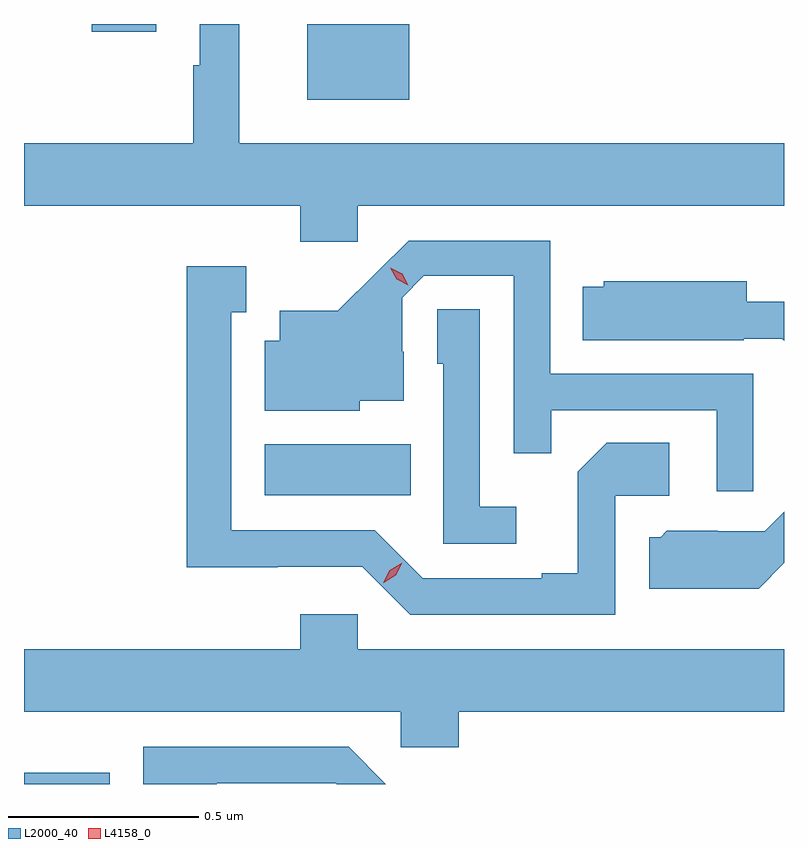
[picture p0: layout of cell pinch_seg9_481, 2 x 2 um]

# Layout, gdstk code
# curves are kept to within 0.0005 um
import gdstk
lib = gdstk.Library(unit=1e-6, precision=1e-09)
def R(c, l, rs):  # rectangles x0, y0, x1, y1
    for r in rs: c.add(gdstk.rectangle(r[:2], r[2:], *l))
def P(c, l, *ps):  # polygons
    for p in ps: c.add(gdstk.Polygon(p, *l))
L2000_40 = (2000, 40)
L4158_0 = (4158, 0)

pinch_seg9_481 = lib.new_cell('pinch_seg9_481')
R(pinch_seg9_481, L2000_40, [(254.398,1197.562,254.623,1197.592), (255.032,1198.322,255.416,1198.456), (255.143,1199.363,255.412,1199.562), (254.576,1199.541,254.746,1199.562)])
P(pinch_seg9_481, L2000_40, [(255.276,1199.084),(256.398,1199.084),(256.398,1199.248),(254.965,1199.248),(254.965,1199.562),(254.861,1199.562),(254.861,1199.453),(254.844,1199.453),(254.844,1199.248),(254.398,1199.248),(254.398,1199.084),(255.125,1199.084),(255.125,1198.989),(255.276,1198.989)],
  [(256.317,1198.641),(255.783,1198.641),(255.783,1198.992),(255.41,1198.992),(255.223,1198.807),(255.071,1198.807),(255.071,1198.729),(255.032,1198.729),(255.032,1198.544),(255.282,1198.544),(255.282,1198.571),(255.397,1198.571),(255.397,1198.7),(255.393,1198.7),(255.393,1198.842),(255.45,1198.899),(255.687,1198.899),(255.687,1198.432),(255.785,1198.432),(255.785,1198.545),(256.221,1198.545),(256.221,1198.332),(256.317,1198.332)],
  [(255.954,1198.32),(256.096,1198.32),(256.096,1198.46),(255.931,1198.46),(255.855,1198.384),(255.855,1198.117),(255.761,1198.117),(255.761,1198.104),(255.447,1198.104),(255.321,1198.23),(254.944,1198.23),(254.944,1198.803),(254.983,1198.803),(254.983,1198.924),(254.826,1198.924),(254.826,1198.133),(255.066,1198.133),(255.066,1198.134),(255.288,1198.134),(255.414,1198.008),(255.954,1198.008)],
  [(256.398,1198.831),(256.3,1198.831),(256.3,1198.885),(255.924,1198.885),(255.924,1198.87),(255.868,1198.87),(255.868,1198.73),(256.292,1198.73),(256.292,1198.734),(256.392,1198.734),(256.398,1198.728)],
  [(255.694,1198.291),(255.597,1198.291),(255.597,1198.811),(255.486,1198.811),(255.486,1198.668),(255.501,1198.668),(255.501,1198.194),(255.694,1198.194)],
  [(256.398,1198.144),(256.398,1198.278),(256.347,1198.227),(256.224,1198.227),(256.224,1198.228),(256.09,1198.228),(256.074,1198.212),(256.043,1198.212),(256.043,1198.076),(256.331,1198.076)],
  [(255.542,1197.752),(256.398,1197.752),(256.398,1197.916),(255.276,1197.916),(255.276,1198.009),(255.125,1198.009),(255.125,1197.916),(254.398,1197.916),(254.398,1197.752),(255.39,1197.752),(255.39,1197.659),(255.542,1197.659)],
  [(254.905,1197.564),(255.219,1197.564),(255.221,1197.562),(255.35,1197.562),(255.252,1197.66),(254.712,1197.66),(254.712,1197.562),(254.905,1197.562)])
P(pinch_seg9_481, L4158_0, [(255.409,1198.875),(255.379,1198.89),(255.362,1198.92),(255.362,1198.92),(255.362,1198.92),(255.393,1198.905),(255.409,1198.875),(255.409,1198.875)],
  [(255.344,1198.092),(255.344,1198.092),(255.361,1198.125),(255.393,1198.144),(255.393,1198.144),(255.393,1198.144),(255.376,1198.112),(255.345,1198.092)])

lib.write_gds('pinch_seg9_481.gds')
